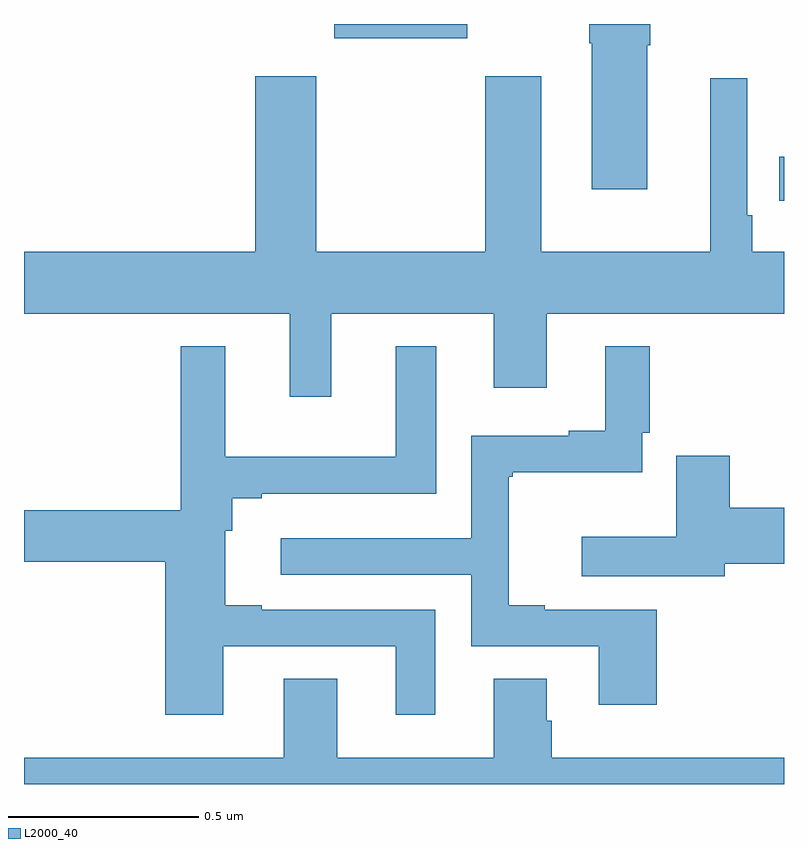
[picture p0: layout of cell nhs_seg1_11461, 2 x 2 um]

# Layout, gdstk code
import gdstk
lib = gdstk.Library(unit=1e-6, precision=1e-09)
def R(c, l, rs):  # rectangles x0, y0, x1, y1
    for r in rs: c.add(gdstk.rectangle(r[:2], r[2:], *l))
def P(c, l, *ps):  # polygons
    for p in ps: c.add(gdstk.Polygon(p, *l))
L2000_40 = (2000, 40)

nhs_seg1_11461 = lib.new_cell('nhs_seg1_11461')
R(nhs_seg1_11461, L2000_40, [(255.988,514.734,256,514.85), (254.816,515.162,255.166,515.199)])
P(nhs_seg1_11461, L2000_40, [(255.64,515.143),(255.648,515.143),(255.648,515.199),(255.487,515.199),(255.487,515.149),(255.494,515.149),(255.494,514.764),(255.64,514.764)],
  [(254.809,514.436),(255.236,514.436),(255.236,514.242),(255.376,514.242),(255.376,514.436),(256,514.436),(256,514.6),(255.917,514.6),(255.917,514.696),(255.903,514.696),(255.903,515.056),(255.806,515.056),(255.806,514.6),(255.361,514.6),(255.361,515.062),(255.214,515.062),(255.214,514.6),(254.769,514.6),(254.769,515.062),(254.609,515.062),(254.609,514.6),(254,514.6),(254,514.436),(254.699,514.436),(254.699,514.218),(254.809,514.218)],
  [(254.524,513.561),(254.978,513.561),(254.978,513.381),(255.082,513.381),(255.082,513.657),(254.626,513.657),(254.626,513.67),(254.53,513.67),(254.53,513.866),(254.548,513.866),(254.548,513.951),(254.626,513.951),(254.626,513.963),(255.085,513.963),(255.085,514.351),(254.978,514.351),(254.978,514.06),(254.53,514.06),(254.53,514.351),(254.412,514.351),(254.412,513.92),(254,513.92),(254,513.784),(254.372,513.784),(254.372,513.381),(254.524,513.381)],
  [(255.665,513.657),(255.37,513.657),(255.37,513.67),(255.275,513.67),(255.275,514.008),(255.286,514.008),(255.286,514.019),(255.627,514.019),(255.627,514.123),(255.647,514.123),(255.647,514.351),(255.53,514.351),(255.53,514.129),(255.434,514.129),(255.434,514.116),(255.177,514.116),(255.177,513.846),(254.676,513.846),(254.676,513.75),(255.177,513.75),(255.177,513.561),(255.512,513.561),(255.512,513.408),(255.665,513.408)],
  [(255.844,513.779),(256,513.779),(256,513.926),(255.857,513.926),(255.857,514.063),(255.716,514.063),(255.716,513.85),(255.468,513.85),(255.468,513.746),(255.844,513.746)],
  [(256,513.268),(255.389,513.268),(255.389,513.366),(255.376,513.366),(255.376,513.476),(255.236,513.476),(255.236,513.268),(254.824,513.268),(254.824,513.476),(254.684,513.476),(254.684,513.268),(254,513.268),(254,513.199),(256,513.199)])

lib.write_gds('nhs_seg1_11461.gds')
